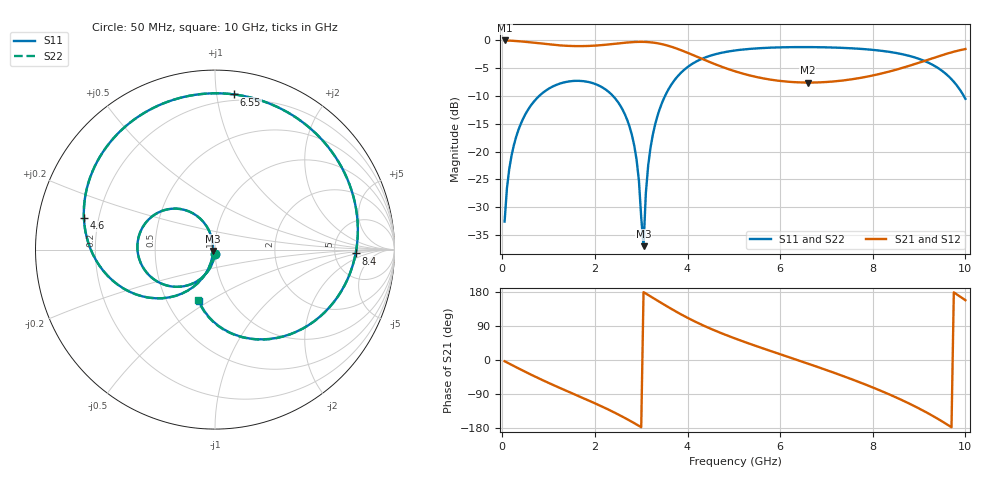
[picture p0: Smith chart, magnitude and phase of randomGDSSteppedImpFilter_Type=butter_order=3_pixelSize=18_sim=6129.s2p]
! freq	dB(S11)	phase(S11)	dB(S12)	phase(S12)
!  dB(S21)	phase(S21)	dB(S22)	phase(S22)
!S-par simulation data
#  GHz  S  DB  R 50
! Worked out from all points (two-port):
!   200 points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, 50 MHz to 10 GHz, reference 50 ohm
!   highest |S21| = -0.01 dB at 50 MHz (marker M1); lowest = -7.6 dB at 6.6 GHz (marker M2)
!   |S21| within 3 dB of the highest: start of sweep to 4.223 GHz; 9.364 GHz to end of sweep
!   lowest |S11| = -37.0 dB at 3.05 GHz (marker M3), VSWR 1.03, Z = 48.8 - j0.781 ohm
!   |S11| at or under -10 dB: start of sweep to 796.7 MHz; 2.39 GHz to 3.514 GHz (1.124 GHz wide, 38.1 % of centre); 9.965301 GHz to end of sweep
!   |S22| runs from -37.2 to -1.2 dB; largest |S21 - S12| = 0
!   S11 on the Smith chart (normalised r, x): 50 MHz: 1.00, -0.05; 4.6 GHz: 0.14, +0.12; 6.55 GHz: 0.16, +1.12; 8.4 GHz: 8.15, -0.91; 10 GHz: 0.72, -0.45
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0.05  -32.60 -93.2  -0.01 -3.2  -0.01 -3.2  -32.60 -93.2
0.2  -20.72 -103.1  -0.06 -12.8  -0.06 -12.8  -20.72 -103.1
0.5  -13.26 -121.9  -0.25 -31.4  -0.25 -31.4  -13.26 -121.9
1.1  -8.25 -156.4  -0.79 -66.0  -0.79 -66.0  -8.25 -156.4
1.75  -7.33 169.0  -1.02 -100.7  -1.02 -100.7  -7.33 169.0
2.7  -14.37 115.5  -0.38 -156.4  -0.38 -156.4  -14.37 115.5
2.9  -21.48 106.0  -0.27 -170.2  -0.27 -170.2  -21.49 105.9
3.05  -37.03 -145.4  -0.26 179.0  -0.26 179.0  -37.18 -144.7
3.15  -22.53 -107.7  -0.30 171.7  -0.30 171.7  -22.54 -107.5
3.4  -12.32 -120.3  -0.59 153.1  -0.59 153.1  -12.32 -120.2
3.9  -5.49 -153.9  -1.89 117.8  -1.89 117.8  -5.49 -153.8
4.6  -2.49 166.6  -4.30 77.3  -4.30 77.3  -2.49 166.6
5.05  -1.78 145.4  -5.62 55.7  -5.62 55.7  -1.78 145.4
5.8  -1.30 113.7  -7.07 23.5  -7.07 23.5  -1.30 113.7
6.55  -1.20 83.0  -7.58 -7.5  -7.58 -7.5  -1.20 83.0
6.6  -1.20 81.0  -7.58 -9.6  -7.58 -9.6  -1.20 81.0
6.7  -1.21 76.8  -7.58 -13.8  -7.58 -13.8  -1.21 76.8
7.65  -1.47 35.4  -6.86 -55.6  -6.86 -55.6  -1.47 35.3
8.35  -2.05 1.0  -5.62 -90.4  -5.62 -90.4  -2.05 1.0
8.4  -2.11 -1.6  -5.51 -93.1  -5.51 -93.1  -2.12 -1.7
9.3  -4.43 -54.9  -3.18 -147.8  -3.18 -147.8  -4.43 -55.2
10  -10.51 -107.5  -1.55 157.7  -1.55 157.7  -10.53 -108.2
